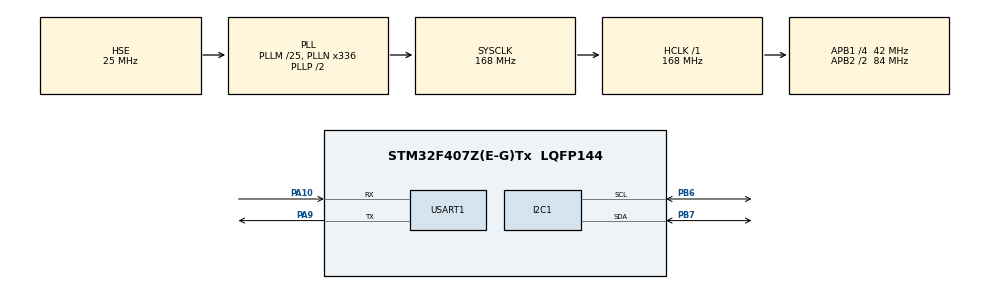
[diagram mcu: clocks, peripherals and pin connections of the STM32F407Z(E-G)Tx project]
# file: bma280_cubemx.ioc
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Mcu.Family=STM32F4
Mcu.Name=STM32F407Z(E-G)Tx
Mcu.Package=LQFP144
NVIC.PriorityGroup=NVIC_PRIORITYGROUP_4
PA10.Mode=Asynchronous
PA10.Signal=USART1_RX
PA9.Mode=Asynchronous
PA9.Signal=USART1_TX
PB6.Mode=I2C
PB6.Signal=I2C1_SCL
PB7.Mode=I2C
PB7.Signal=I2C1_SDA
PH0-OSC_IN.Mode=HSE-External-Oscillator
PH0-OSC_IN.Signal=RCC_OSC_IN
PH1-OSC_OUT.Mode=HSE-External-Oscillator
PH1-OSC_OUT.Signal=RCC_OSC_OUT
ProjectManager.HeapSize=0x200
ProjectManager.StackSize=0x400
ProjectManager.TargetToolchain=STM32CubeIDE
RCC.48MHZClocksFreq_Value=84000000
RCC.AHBFreq_Value=168000000
RCC.APB1CLKDivider=RCC_HCLK_DIV4
RCC.APB1Freq_Value=42000000
RCC.APB1TimFreq_Value=84000000
RCC.APB2CLKDivider=RCC_HCLK_DIV2
RCC.APB2Freq_Value=84000000
RCC.APB2TimFreq_Value=168000000
RCC.CortexFreq_Value=168000000
RCC.HCLKFreq_Value=168000000
RCC.HSE_VALUE=25000000
RCC.HSI_VALUE=16000000
RCC.LSE_VALUE=32768
RCC.PLLM=25
RCC.PLLN=336
RCC.PLLSourceVirtual=RCC_PLLSOURCE_HSE
RCC.SYSCLKFreq_VALUE=168000000
RCC.SYSCLKSource=RCC_SYSCLKSOURCE_PLLCLK
RCC.VCOOutputFreq_Value=336000000
USART1.VirtualMode=VM_ASYNC
board=custom

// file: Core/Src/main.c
/* USER CODE BEGIN Header */
/**
  ******************************************************************************
  * @file           : main.c
  * @brief          : Main program body
  ******************************************************************************
  * @attention
  *
  * Copyright (c) 2026 STMicroelectronics.
  * All rights reserved.
  *
  * This software is licensed under terms that can be found in the LICENSE file
  * in the root directory of this software component.
  * If no LICENSE file comes with this software, it is provided AS-IS.
  *
  ******************************************************************************
  */
/* USER CODE END Header */
#include "main.h"

/* USER CODE BEGIN Includes */
#include <stdio.h>
/* USER CODE END Includes */

/* USER CODE BEGIN PD */
#define BMA280_I2C_ADDR (0x18 << 1)

#define BMA280_RA_CHIP_ID           0x00
#define BMA280_RA_X_AXIS_LSB        0x02
#define BMA280_RA_BANDWIDTH       0x10
#define BMA280_RA_RANGE_BWIDTH      0x0f

/* range and bandwidth */
#define BMA280_RANGE_2G                0x3
#define BMA280_RANGE_4G                0x5
#define BMA280_RANGE_8G                0x8

#define BMA280_BW_7HZ                 0
#define BMA280_BW_7_81HZ                 0x8
#define BMA280_BW_15_13HZ                0x9
#define BMA280_BW_125HZ                12
#define BMA280_BW_250HZ                13
#define BMA280_BW_500HZ                14
#define BMA280_BW_MAX              0xF
/* USER CODE END PD */

I2C_HandleTypeDef hi2c1;

UART_HandleTypeDef huart1;

void SystemClock_Config(void);
static void MX_GPIO_Init(void);
static void MX_I2C1_Init(void);
static void MX_USART1_UART_Init(void);

/* USER CODE BEGIN 0 */
#define hUART           huart1
int _write( int32_t file , uint8_t *ptr , int32_t len )
{
    /* Implement your write code here, this is used by puts and printf for example */
    for ( int16_t i = 0 ; i < len ; ++i )
    {
        HAL_UART_Transmit( &hUART, ptr++, 1, 100);
    }
    return len;
}

static uint8_t Read_1_Byte(uint8_t address)
{
    uint8_t Buffer_Tx;
    uint8_t Buffer_Rx;

    Buffer_Tx = address;

    HAL_I2C_Master_Transmit(&hi2c1, BMA280_I2C_ADDR, &Buffer_Tx, 1, 1000);
    HAL_I2C_Master_Receive(&hi2c1, BMA280_I2C_ADDR, &Buffer_Rx, 1, 1000);

    return Buffer_Rx;
}

static uint8_t Get_ChipID(void)
{
    return Read_1_Byte(BMA280_RA_CHIP_ID);
}

/*
 * Description : none.
 * Argument(s) : none.
 * Return(s)   : none.
 * Note(s)     : none.
 */
static void Read_3_Axis_BMA280_Data(int16_t * xData_p, int16_t * yData_p, int16_t * zData_p)
{
    uint8_t Buffer_Tx;
    uint8_t Buffer_Rx[6];
    int16_t x, y, z;

    Buffer_Tx = BMA280_RA_X_AXIS_LSB;

    HAL_I2C_Master_Transmit(&hi2c1, BMA280_I2C_ADDR, &Buffer_Tx, 1, 1000);
    HAL_I2C_Master_Receive(&hi2c1, BMA280_I2C_ADDR, Buffer_Rx, 6, 1000);

    x = ((int16_t)Buffer_Rx[1] << 6) | (Buffer_Rx[0] >> 2);
    y = ((int16_t)Buffer_Rx[3] << 6) | (Buffer_Rx[2] >> 2);
	z = ((int16_t)Buffer_Rx[5] << 6) | (Buffer_Rx[4] >> 2);

	if(x & 0x2000) x |= 0xC000;
	if(y & 0x2000) y |= 0xC000;
	if(z & 0x2000) z |= 0xC000;

	* xData_p = x;
    * yData_p = y;
    * zData_p = z;
}
/* USER CODE END 0 */

int main(void)
{

  /* USER CODE BEGIN 1 */
    uint8_t  Buffer_Tx[2];
	int16_t  xData, yData, zData;
  /* USER CODE END 1 */

  /* MCU Configuration--------------------------------------------------------*/

  /* Reset of all peripherals, Initializes the Flash interface and the Systick. */
  HAL_Init();

  /* Configure the system clock */
  SystemClock_Config();

  /* Initialize all configured peripherals */
  MX_GPIO_Init();
  MX_I2C1_Init();
  MX_USART1_UART_Init();
  /* USER CODE BEGIN 2 */
  printf("I2C-BMA280 test\r\n");

  printf("Get_ChipID: %X\r\n", Get_ChipID());

  Buffer_Tx[0] = BMA280_RA_RANGE_BWIDTH;
  Buffer_Tx[1] = BMA280_RANGE_2G;
  HAL_I2C_Master_Transmit(&hi2c1, BMA280_I2C_ADDR, Buffer_Tx, 2, 1000);
  Buffer_Tx[0] = BMA280_RA_BANDWIDTH;
  Buffer_Tx[1] = BMA280_BW_500HZ;
  HAL_I2C_Master_Transmit(&hi2c1, BMA280_I2C_ADDR, Buffer_Tx, 2, 1000);
  printf("Set Param BMA280_RANGE_2G, BMA280_BW_500HZ\r\n");
  /* USER CODE END 2 */

  /* Infinite loop */
  /* USER CODE BEGIN WHILE */
  while (1)
  {
	  HAL_Delay(1000);
      Read_3_Axis_BMA280_Data(&xData, &yData, &zData);
      printf("x: %f, y: %f, z: %f\r\n", xData * 0.244 / 1000, yData * 0.244 / 1000, zData * 0.244 / 1000);
	  /* USER CODE END WHILE */

  }
}

void SystemClock_Config(void)
{
  RCC_OscInitTypeDef RCC_OscInitStruct = {0};
  RCC_ClkInitTypeDef RCC_ClkInitStruct = {0};

  /** Configure the main internal regulator output voltage
  */
  __HAL_RCC_PWR_CLK_ENABLE();
  __HAL_PWR_VOLTAGESCALING_CONFIG(PWR_REGULATOR_VOLTAGE_SCALE1);

  /** Initializes the RCC Oscillators according to the specified parameters
  * in the RCC_OscInitTypeDef structure.
  */
  RCC_OscInitStruct.OscillatorType = RCC_OSCILLATORTYPE_HSE;
  RCC_OscInitStruct.HSEState = RCC_HSE_ON;
  RCC_OscInitStruct.PLL.PLLState = RCC_PLL_ON;
  RCC_OscInitStruct.PLL.PLLSource = RCC_PLLSOURCE_HSE;
  RCC_OscInitStruct.PLL.PLLM = 25;
  RCC_OscInitStruct.PLL.PLLN = 336;
  RCC_OscInitStruct.PLL.PLLP = RCC_PLLP_DIV2;
  RCC_OscInitStruct.PLL.PLLQ = 4;
  if (HAL_RCC_OscConfig(&RCC_OscInitStruct) != HAL_OK)
  {
    Error_Handler();
  }

  /** Initializes the CPU, AHB and APB buses clocks
  */
  RCC_ClkInitStruct.ClockType = RCC_CLOCKTYPE_HCLK|RCC_CLOCKTYPE_SYSCLK
                              |RCC_CLOCKTYPE_PCLK1|RCC_CLOCKTYPE_PCLK2;
  RCC_ClkInitStruct.SYSCLKSource = RCC_SYSCLKSOURCE_PLLCLK;
  RCC_ClkInitStruct.AHBCLKDivider = RCC_SYSCLK_DIV1;
  RCC_ClkInitStruct.APB1CLKDivider = RCC_HCLK_DIV4;
  RCC_ClkInitStruct.APB2CLKDivider = RCC_HCLK_DIV2;

  if (HAL_RCC_ClockConfig(&RCC_ClkInitStruct, FLASH_LATENCY_5) != HAL_OK)
  {
    Error_Handler();
  }
}

static void MX_I2C1_Init(void)
{

  hi2c1.Instance = I2C1;
  hi2c1.Init.ClockSpeed = 100000;
  hi2c1.Init.DutyCycle = I2C_DUTYCYCLE_2;
  hi2c1.Init.OwnAddress1 = 0;
  hi2c1.Init.AddressingMode = I2C_ADDRESSINGMODE_7BIT;
  hi2c1.Init.DualAddressMode = I2C_DUALADDRESS_DISABLE;
  hi2c1.Init.OwnAddress2 = 0;
  hi2c1.Init.GeneralCallMode = I2C_GENERALCALL_DISABLE;
  hi2c1.Init.NoStretchMode = I2C_NOSTRETCH_DISABLE;
  if (HAL_I2C_Init(&hi2c1) != HAL_OK)
  {
    Error_Handler();
  }

}

static void MX_USART1_UART_Init(void)
{

  huart1.Instance = USART1;
  huart1.Init.BaudRate = 115200;
  huart1.Init.WordLength = UART_WORDLENGTH_8B;
  huart1.Init.StopBits = UART_STOPBITS_1;
  huart1.Init.Parity = UART_PARITY_NONE;
  huart1.Init.Mode = UART_MODE_TX_RX;
  huart1.Init.HwFlowCtl = UART_HWCONTROL_NONE;
  huart1.Init.OverSampling = UART_OVERSAMPLING_16;
  if (HAL_UART_Init(&huart1) != HAL_OK)
  {
    Error_Handler();
  }

}

static void MX_GPIO_Init(void)
{

  /* GPIO Ports Clock Enable */
  __HAL_RCC_GPIOH_CLK_ENABLE();
  __HAL_RCC_GPIOA_CLK_ENABLE();
  __HAL_RCC_GPIOB_CLK_ENABLE();

}

void Error_Handler(void)
{
  __disable_irq();
  while (1)
  {
  }
}
